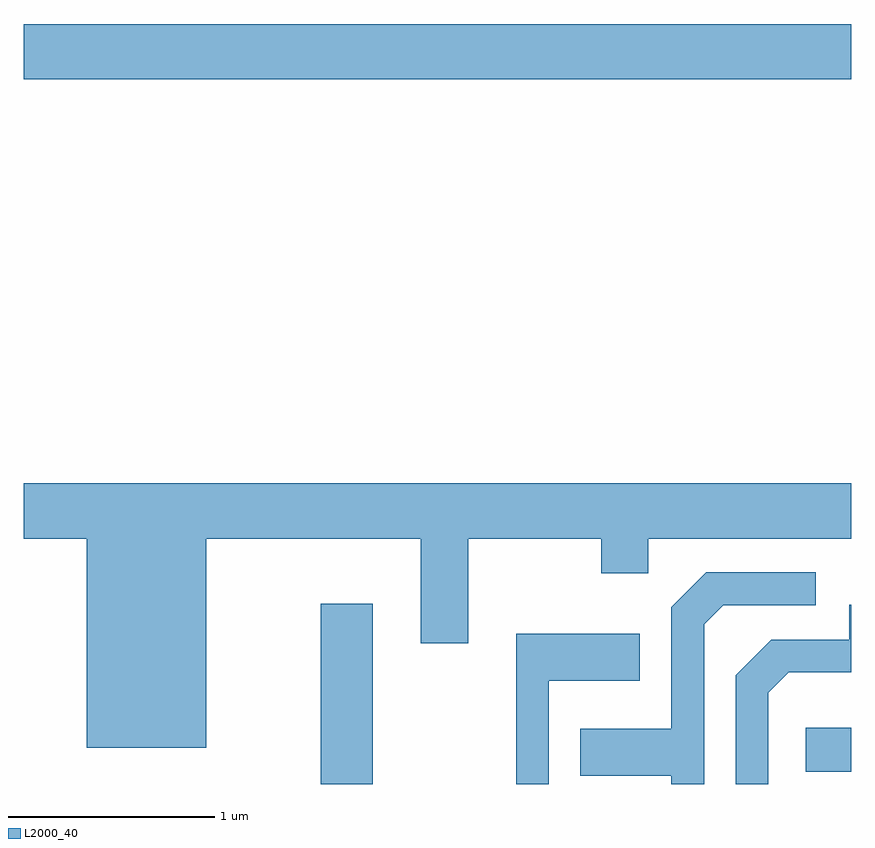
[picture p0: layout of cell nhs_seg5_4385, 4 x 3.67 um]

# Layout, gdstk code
import gdstk
lib = gdstk.Library(unit=1e-6, precision=1e-09)
def R(c, l, rs):  # rectangles x0, y0, x1, y1
    for r in rs: c.add(gdstk.rectangle(r[:2], r[2:], *l))
def P(c, l, *ps):  # polygons
    for p in ps: c.add(gdstk.Polygon(p, *l))
L2000_40 = (2000, 40)

nhs_seg5_4385 = lib.new_cell('nhs_seg5_4385')
R(nhs_seg5_4385, L2000_40, [(317.046,1440.072,317.299,1440.944), (319.391,1440.131,319.611,1440.344), (315.611,1443.476,319.611,1443.744)])
P(nhs_seg5_4385, L2000_40, [(315.611,1441.256),(315.916,1441.256),(315.916,1440.246),(316.494,1440.246),(316.494,1441.256),(317.531,1441.256),(317.531,1440.751),(317.759,1440.751),(317.759,1441.256),(318.401,1441.256),(318.401,1441.091),(318.629,1441.091),(318.629,1441.256),(319.611,1441.256),(319.611,1441.524),(315.611,1441.524)],
  [(318.899,1440.844),(318.992,1440.936),(319.438,1440.936),(319.438,1441.094),(318.909,1441.094),(318.741,1440.927),(318.741,1440.339),(318.301,1440.339),(318.301,1440.111),(318.741,1440.111),(318.741,1440.072),(318.899,1440.072)],
  [(319.209,1440.514),(319.307,1440.611),(319.611,1440.611),(319.611,1440.939),(319.601,1440.939),(319.601,1440.769),(319.224,1440.769),(319.051,1440.597),(319.051,1440.072),(319.209,1440.072)],
  [(318.149,1440.571),(318.589,1440.571),(318.589,1440.799),(317.991,1440.799),(317.991,1440.072),(318.149,1440.072)])

lib.write_gds('nhs_seg5_4385.gds')
